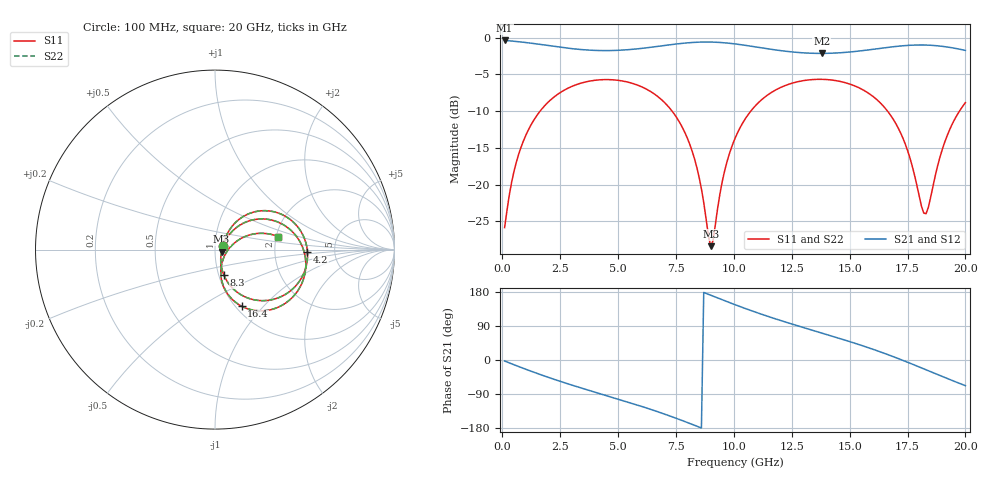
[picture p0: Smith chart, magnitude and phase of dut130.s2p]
! Touchstone file exported from HFSS 2026.1.0
!  File:  C:/ffzhzh/LocalFiles/Ansys_Project_Files/temp_train_TSV_RDL_130_1783049056_36532.aedt
!  Generated:  11:38:16 AM Jul  3, 2026
!  Design:  TSV_RDL
!  Project:  temp_train_TSV_RDL_130_1783049056_36532
! Variables:
!  h_bsmrdl = 3.24um
!  h_ox = 20um
!  h_rdl = 5um
!  h_sub = 52.27um
!  h_tmrdl = 2.61um
!  h_tsv = 52.27um
!  h_via = 3um
!  l_bsmrdl = 961.91um
!  l_sub = 7333.42um
!  l_tmrdl = 981.21um
!  m_sub = 200um
!  pitch = 41.85um
!  r_tsv = 7um
!  s_tmrdl = 10um
!  w_bsmrdl = 11.68um
!  w_sub = 500um
!  w_tmrdl = 29.27um
!  x_tsv_center1 = 995.845um
!  x_tsv_center2 = 1969.435um
!  x_tsv_center3 = 2979.915um
!  x_tsv_center4 = 3953.505um
!  x_tsv_center5 = 4963.985um
!  x_tsv_center6 = 5937.575um
# GHz S MA R 50.000000
! Terminal data exported
! Port[1] = TM_RDL1_1_T1
! Port[2] = TM_RDL5_1_T1
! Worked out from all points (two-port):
!   200 points, 100 MHz to 20 GHz, reference 50 ohm
!   highest |S21| = -0.40 dB at 100 MHz (marker M1); lowest = -2.2 dB at 13.8 GHz (marker M2)
!   |S21| within 3 dB of the highest: start of sweep to end of sweep
!   lowest |S11| = -28.4 dB at 9 GHz (marker M3), VSWR 1.08, Z = 53.8 - j1.22 ohm
!   |S11| at or under -10 dB: start of sweep to 1.637 GHz; 7.328 GHz to 10.74 GHz (3.407 GHz wide, 37.7 % of centre); 16.63 GHz to 19.75 GHz (3.112 GHz wide, 17.1 % of centre)
!   |S22| runs from -28.5 to -5.7 dB; largest |S21 - S12| = 2.8e-14
!   S11 on the Smith chart (normalised r, x): 100 MHz: 1.10, +0.05; 4.2 GHz: 3.12, -0.13; 8.3 GHz: 1.06, -0.31; 16.4 GHz: 1.07, -0.77; 20 GHz: 2.05, +0.34
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0.1  0.05097 25.6  0.9548 -2.6  0.9548 -2.6  0.05097 25.6
! Gamma 0 0 0 0
! Port Impedance 50 0 50 0
0.5  0.122 53.1  0.9433 -12.4  0.9433 -12.4  0.122 53.1
1.2  0.2478 49.1  0.9169 -28.6  0.9169 -28.6  0.2478 49.1
2.3  0.4013 31.0  0.8674 -52.3  0.8674 -52.3  0.4013 31.0
3.5  0.4943 10.2  0.8258 -75.6  0.8258 -75.6  0.4944 10.2
4.2  0.5154 -1.7  0.8155 -88.5  0.8155 -88.5  0.5154 -1.7
6.8  0.3869 -47.3  0.8738 -138.3  0.8738 -138.3  0.3869 -47.3
7.7  0.2575 -63.5  0.9102 -158.1  0.9102 -158.1  0.2575 -63.6
8.3  0.1499 -70.8  0.9268 -172.2  0.9268 -172.2  0.1499 -70.9
9  0.03812 -17.3  0.9313 171.0  0.9313 171.0  0.03765 -17.5
9.6  0.1235 46.5  0.9203 156.5  0.9203 156.5  0.1233 46.8
10.1  0.2146 43.0  0.9025 144.8  0.9025 144.8  0.2145 43.2
11.6  0.4209 17.2  0.8316 112.5  0.8316 112.5  0.4207 17.3
13.4  0.5177 -13.7  0.7811 78.4  0.7811 78.4  0.5176 -13.6
13.8  0.5195 -20.4  0.7796 71.1  0.7796 71.1  0.5194 -20.2
15.2  0.4702 -44.0  0.8023 44.8  0.8023 44.8  0.4701 -43.9
16.4  0.3494 -64.8  0.8468 19.8  0.8468 19.8  0.3493 -64.6
16.7  0.3066 -69.7  0.8586 13.1  0.8586 13.1  0.3065 -69.4
17.4  0.1891 -77.7  0.8811 -3.4  0.8811 -3.4  0.1892 -77.4
18.3  0.06336 -20.2  0.8885 -25.8  0.8885 -25.8  0.06404 -20.1
19.1  0.1928 23.4  0.8669 -45.9  0.8669 -45.9  0.1931 23.4
20  0.3605 11.6  0.8171 -67.7  0.8171 -67.7  0.3607 11.6
